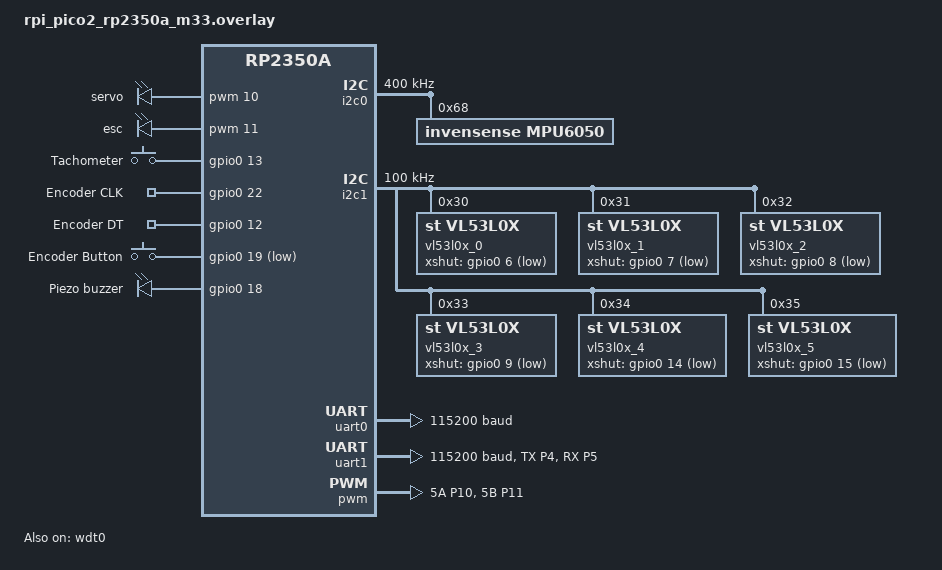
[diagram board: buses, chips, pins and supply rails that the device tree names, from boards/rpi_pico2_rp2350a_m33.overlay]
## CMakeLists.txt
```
cmake_minimum_required(VERSION 3.20.0)

set(RACE_BUILD ON CACHE BOOL "Race/track build: no UART0 console, logs, or bench debug thread")
if(RACE_BUILD)
  list(APPEND EXTRA_CONF_FILE ${CMAKE_CURRENT_SOURCE_DIR}/race.conf)
endif()

set(USB_CONSOLE OFF CACHE BOOL "Use USB CDC-ACM for debug console instead of UART0")
if(USB_CONSOLE)
  list(APPEND EXTRA_CONF_FILE ${CMAKE_CURRENT_SOURCE_DIR}/usb_console.conf)
  list(APPEND EXTRA_DTC_OVERLAY_FILE ${CMAKE_CURRENT_SOURCE_DIR}/boards/usb_console.overlay)
endif()

set(HIL_NO_SENSORS OFF CACHE BOOL "Disable IMU/VL53 nodes for bare-controller HIL")
if(HIL_NO_SENSORS)
  list(APPEND EXTRA_DTC_OVERLAY_FILE ${CMAKE_CURRENT_SOURCE_DIR}/boards/hil_no_sensors.overlay)
endif()

# Register out-of-tree modules
list(APPEND ZEPHYR_EXTRA_MODULES
  ${CMAKE_CURRENT_SOURCE_DIR}/modules/vl53l0x_enhanced
  ${CMAKE_CURRENT_SOURCE_DIR}/modules/u8g2_zephyr
)

find_package(Zephyr REQUIRED HINTS $ENV{ZEPHYR_BASE})

project(umbreon_zephyr)

find_package(Git QUIET)
set(FW_GIT_HASH "unknown")
set(FW_COMMIT_SUBJECT "unknown")
if(Git_FOUND)
  execute_process(
    COMMAND ${GIT_EXECUTABLE} rev-parse --short=7 HEAD
    WORKING_DIRECTORY ${CMAKE_CURRENT_SOURCE_DIR}
    OUTPUT_VARIABLE FW_GIT_HASH
    OUTPUT_STRIP_TRAILING_WHITESPACE
    ERROR_QUIET
  )
  execute_process(
    COMMAND ${GIT_EXECUTABLE} log -1 --pretty=%s
    WORKING_DIRECTORY ${CMAKE_CURRENT_SOURCE_DIR}
    OUTPUT_VARIABLE FW_COMMIT_SUBJECT
    OUTPUT_STRIP_TRAILING_WHITESPACE
    ERROR_QUIET
  )
  execute_process(
    COMMAND ${GIT_EXECUTABLE} diff --quiet
    WORKING_DIRECTORY ${CMAKE_CURRENT_SOURCE_DIR}
    RESULT_VARIABLE FW_GIT_DIRTY
    ERROR_QUIET
  )
  if(FW_GIT_DIRTY)
    string(APPEND FW_GIT_HASH "*")
  endif()
endif()

if(RACE_BUILD)
  set(FW_BUILD_LABEL "RACE")
else()
  set(FW_BUILD_LABEL "BENCH")
endif()

string(REPLACE "\\" "\\\\" FW_COMMIT_SUBJECT "${FW_COMMIT_SUBJECT}")
string(REPLACE "\"" "\\\"" FW_COMMIT_SUBJECT "${FW_COMMIT_SUBJECT}")
configure_file(
  ${CMAKE_CURRENT_SOURCE_DIR}/src/version_git.h.in
  ${CMAKE_CURRENT_BINARY_DIR}/generated/version_git.h
  @ONLY
)

target_include_directories(app PRIVATE
  ${CMAKE_CURRENT_SOURCE_DIR}/src/assets
  ${CMAKE_CURRENT_BINARY_DIR}/generated
)

target_sources(app PRIVATE
    src/main.c
    src/car.c
    src/tachometer.c
    src/sensors.c
    src/imu.c
    src/wifi_cmd.c
    src/control.c
    src/settings.c
    src/battery.c
    src/buzzer.c
    src/tests.c
    src/encoder.c
    src/display.c
    src/display_hal.c
    src/assets/umbreon_logo.c
    src/screens/screen_boot.c
    src/screens/screen_dashboard.c
    src/screens/screen_menu.c
    src/screens/screen_settings.c
    src/screens/screen_edit.c
    src/screens/screen_tests.c
    src/screens/screen_actions.c
    src/screens/screen_confirm.c
    src/screens/screen_info.c
    src/screens/screen_wifi.c
    src/screens/screen_calibrating.c
    src/qrcodegen.c
)
```

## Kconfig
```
source "Kconfig.zephyr"

menu "Umbreon application"

config APP_DISPLAY_DASHBOARD_ONLY
	bool "Dashboard-only display mode"
	default n
	help
	  When enabled, the display shows only the dashboard screen.
	  The main menu, settings, tests and actions are inaccessible.
	  Useful for competition builds where accidental menu entry must
	  be prevented.

config APP_BOOTSCREEN
	bool "Show OLED boot splash"
	default y
	help
	  On startup, show logo and firmware version for a fixed duration
	  before switching to the dashboard.

config APP_BOOTSCREEN_DURATION_MS
	int "Boot splash duration in milliseconds"
	depends on APP_BOOTSCREEN
	default 2500
	range 500 10000

config APP_BUZZER
	bool "Enable piezo buzzer on GP18"
	default y
	help
	  Drive a small passive piezo buzzer connected to GP18 and GND.
	  Sounds are queued and played by a low-priority thread.

menu "Thread configuration"

config APP_CONTROL_STACK_SIZE
	int "Control thread stack size"
	range 512 16384
	default 4096

config APP_CONTROL_PRIORITY
	int "Control thread priority"
	range 0 15
	default 2

config APP_WIFI_CMD_STACK_SIZE
	int "WiFi command thread stack size"
	range 512 16384
	default 2048

config APP_WIFI_CMD_PRIORITY
	int "WiFi command thread priority"
	range 0 15
	default 5

config APP_WIFI_ASYNC_STACK_SIZE
	int "WiFi async worker stack size"
	range 512 16384
	default 3072

config APP_WIFI_ASYNC_PRIORITY
	int "WiFi async worker priority"
	range 0 15
	default 6

config APP_DEBUG_UART_CMD
	bool "UART0 debug command thread (GP16/GP17)"
	default y
	help
	  Poll UART0 for the same $ commands accepted on the WiFi bridge.
	  Intended for bench work with a USB-serial adapter or debug probe.
	  Disable for race/track builds to save RAM, CPU, and UART0 bandwidth.

config APP_DEBUG_UART_STACK_SIZE
	int "Debug UART command thread stack size"
	depends on APP_DEBUG_UART_CMD
	range 512 16384
	default 4096

config APP_DEBUG_UART_PRIORITY
	int "Debug UART command thread priority"
	depends on APP_DEBUG_UART_CMD
	range 0 15
	default 7

config APP_DISPLAY_STACK_SIZE
	int "Display thread stack size"
	range 512 16384
	default 4096

config APP_DISPLAY_PRIORITY
	int "Display thread priority"
	range 0 15
	default 8

config APP_ENCODER_STACK_SIZE
	int "Encoder thread stack size"
	range 512 16384
	default 1024

config APP_ENCODER_PRIORITY
	int "Encoder thread priority"
	range 0 15
	default 5

config APP_BUZZER_STACK_SIZE
	int "Buzzer thread stack size"
	depends on APP_BUZZER
	range 512 4096
	default 1024

config APP_BUZZER_PRIORITY
	int "Buzzer thread priority"
	depends on APP_BUZZER
	range 0 15
	default 12

config APP_BATTERY_STACK_SIZE
	int "Battery thread stack size"
	range 512 16384
	default 1024

config APP_BATTERY_PRIORITY
	int "Battery thread priority"
	range 0 15
	default 10

endmenu

menu "Polling intervals"

config APP_DISPLAY_REFRESH_INTERVAL_MS
	int "Display dashboard refresh interval in milliseconds"
	range 1 60000
	default 120

config APP_DISPLAY_MENU_INTERVAL_MS
	int "Display menu refresh interval in milliseconds"
	range 1 60000
	default 50

config APP_ENCODER_POLL_INTERVAL_MS
	int "Encoder poll interval in milliseconds"
	range 1 60000
	default 1

config APP_BATTERY_SAMPLE_INTERVAL_MS
	int "Battery sample interval in milliseconds"
	range 1 60000
	default 50

config APP_SENSOR_I2C_SCAN_INTERVAL_MS
	int "Sensor I2C health scan interval in milliseconds"
	range 0 60000
	default 0
	help
	  Interval for explicit VL53L0X I2C address scans. 0 disables the scan.
	  Normal RUN sensor polling still detects stale/erroring sensors; this
	  scan is mainly a bench diagnostic and can create I2C NACK log noise if
	  it probes absent addresses.

config APP_SENSOR_I2C_SCAN_DEFAULT_ADDR
	bool "Probe VL53L0X default address during I2C health scan"
	depends on APP_SENSOR_I2C_SCAN_INTERVAL_MS > 0
	default n
	help
	  Probe address 0x29 during the explicit health scan. In normal runtime
	  all six VL53L0X devices are moved to 0x30..0x35, so probing 0x29 will
	  usually NACK and may add avoidable I2C latency/log noise.

config APP_VL53_I2C_BITRATE
	int "VL53L0X I2C1 bus bitrate in Hz"
	range 100000 1000000
	default 400000
	help
	  I2C1 clock frequency for the six VL53L0X range sensors.
	  Use 100000 for conservative wiring and fewer NACK/abort events.
	  Use 400000 for lower RUN-loop latency only when wiring is stable.

config APP_RUN_CSV_TELEMETRY_DIVIDER
	int "RUN CSV telemetry divider"
	range 0 1000
	default 5
	help
	  Send CSV telemetry once every N control-loop ticks while RUN/manual
	  driving is active. 0 disables periodic RUN CSV telemetry.

config APP_CONTROL_INSTANT_TACHOMETER
	bool "Use instant tachometer speed in control loop"
	default y
	help
	  Use the last-pulse interval speed calculation for RUN control,
	  stuck, stall, and maneuver stop checks. This matches the older
	  Arduino-style behavior and avoids the mutex/EMA latency of the
	  filtered tachometer speed path. Disable to use filtered speed in
	  control decisions.

config APP_RUN_PROFILING
	bool "Emit RUN loop timing profiler telemetry"
	default y
	help
	  Emit compact timing telemetry from the autonomous RUN loop. The
	  profiler measures the main work() sections in microseconds and
	  reports averages plus worst total tick time every configured number
	  of RUN ticks.

config APP_RUN_PROFILING_INTERVAL
	int "RUN profiler report interval in ticks"
	depends on APP_RUN_PROFILING
	range 1 1000
	default 25
	help
	  Number of autonomous RUN loop ticks to aggregate before emitting one
	  $T:RUNPROF line. With the default 40 ms loop this reports once per
	  second.

config APP_RUN_PROFILING_CONSOLE
	bool "Mirror RUN profiler telemetry to console"
	depends on APP_RUN_PROFILING
	default y
	help
	  Also print RUN profiler lines to the Zephyr console. This is intended
	  for bench debugging over USB/UART0; keep it disabled for race builds
	  if console output becomes measurable.

config APP_WIFI_DEBUG_UART_MIRROR
	bool "Mirror WiFi protocol TX to UART0 debug console"
	depends on APP_DEBUG_UART_CMD
	default n
	help
	  When enabled, every wifi_cmd_send()/wifi_cmd_printf() payload is also
	  written synchronously to UART0. This is useful for bench debugging but
	  can add milliseconds of latency to each RUN control-loop tick.

endmenu

endmenu
```

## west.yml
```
manifest:
  remotes:
    - name: zephyrproject-rtos
      url-base: https://github.com/zephyrproject-rtos
    - name: olikraus
      url-base: https://github.com/olikraus

  projects:
    - name: zephyr
      remote: zephyrproject-rtos
      revision: v4.4.0
      import: true
    - name: u8g2
      remote: olikraus
      revision: cbceaa1cab22ad63e41c2df684e173cd5433766e
      path: app/modules/u8g2

  self:
    path: app
```

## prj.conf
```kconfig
# ─── Umbreon Zephyr RTOS Configuration ───────────────────────────────────────

# GPIO
CONFIG_GPIO=y

# I2C
CONFIG_I2C=y

# PWM
CONFIG_PWM=y

# ADC
CONFIG_ADC=y

# Sensor subsystem
CONFIG_SENSOR=y

# VL53L0X ToF driver (enhanced, replaces stock)
CONFIG_VL53L0X=n
CONFIG_VL53L0X_ENHANCED=y
CONFIG_VL53L0X_ENHANCED_RECONFIGURE_ADDRESS=y

# MPU-6050 IMU driver
CONFIG_MPU6050=y
CONFIG_MPU6050_TRIGGER_NONE=y

# UART
CONFIG_SERIAL=y
CONFIG_UART_INTERRUPT_DRIVEN=y

# NVS (Non-Volatile Storage)
CONFIG_NVS=y
CONFIG_FLASH=y
CONFIG_FLASH_MAP=y

# Watchdog
CONFIG_WATCHDOG=y

# Reset reason reporting
CONFIG_HWINFO=y

# Console on UART0 (GP16/GP17) — WiFi bridge moved to UART1
CONFIG_CONSOLE=y
CONFIG_UART_CONSOLE=y

# Logging via UART0 console
CONFIG_LOG=y
CONFIG_LOG_DEFAULT_LEVEL=3
CONFIG_LOG_BACKEND_UART=y
CONFIG_PRINTK=y

# UF2 output for easy flashing
CONFIG_BUILD_OUTPUT_UF2=y

# u8g2 graphics library (direct I2C to SSD1306, replaces Zephyr display subsystem)
CONFIG_U8G2=y
# Explicitly disable Zephyr display subsystem — u8g2 owns the SSD1306 directly
CONFIG_DISPLAY=n
CONFIG_CHARACTER_FRAMEBUFFER=n

# Kernel features for display/wifi_cmd
CONFIG_POLL=y
CONFIG_EVENTS=y

# System
CONFIG_HEAP_MEM_POOL_SIZE=8192
CONFIG_MAIN_STACK_SIZE=4096

# Timers
CONFIG_SYS_CLOCK_TICKS_PER_SEC=1000

# picolibc: enable float in printf/scanf (needed for wifi protocol %f formatting)
CONFIG_PICOLIBC_IO_FLOAT=y

# Display: full menu enabled
CONFIG_APP_DISPLAY_DASHBOARD_ONLY=n

# Debug: stack overflow detection
CONFIG_STACK_SENTINEL=y
CONFIG_INIT_STACKS=y
```

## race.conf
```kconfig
# Race / track build — strip UART0 debug overhead (console, logs, bench commands).
# WiFi telemetry on UART1 is unchanged.

CONFIG_CONSOLE=n
CONFIG_UART_CONSOLE=n
CONFIG_LOG=n
CONFIG_PRINTK=n

CONFIG_APP_DEBUG_UART_CMD=n
CONFIG_APP_RUN_PROFILING=n
```

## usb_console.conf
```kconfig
# USB CDC-ACM debug console
CONFIG_USB_DEVICE_STACK=y
CONFIG_USB_DEVICE_PRODUCT="Umbreon Debug"
CONFIG_USB_DEVICE_VID=0x2E8A
CONFIG_USB_DEVICE_PID=0x000A
CONFIG_USB_CDC_ACM=y
CONFIG_USB_CDC_ACM_LOG_LEVEL_OFF=y
```

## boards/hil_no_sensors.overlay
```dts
/* Bare-controller HIL profile: controller only, no external sensors.
 * Keeps UART/PWM/tachometer alive and disables IMU + ToF nodes. */

&mpu6050 {
	status = "disabled";
};

&vl53l0x_0 {
	status = "disabled";
};

&vl53l0x_1 {
	status = "disabled";
};

&vl53l0x_2 {
	status = "disabled";
};

&vl53l0x_3 {
	status = "disabled";
};

&vl53l0x_4 {
	status = "disabled";
};

&vl53l0x_5 {
	status = "disabled";
};
```

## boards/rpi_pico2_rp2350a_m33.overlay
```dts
/*
 * Devicetree overlay for Umbreon roborace car — Raspberry Pi Pico 2 (RP2350A)
 *
 * Pin assignment:
 *   I2C0  GP0/GP1  400kHz — MPU-6050 (0x68) + SSD1306 OLED (0x3C)
 *   I2C1  GP2/GP3  100kHz — 6× VL53L0X (0x30–0x35)
 *   UART0 GP16/GP17 115200 — Debug console
 *   UART1 GP4/GP5   115200 — WiFi bridge (ESP8266)
 *   PWM   GP10 (slice 5A) — Steering servo
 *   PWM   GP11 (slice 5B) — Motor ESC
 *   GPIO  GP13 — Tachometer interrupt (RISING)
 *   GPIO  GP18 — Piezo buzzer
 *   ADC   GP26 (ch0) — Battery voltage
 *   GPIO  GP6,7,8,9,14,15 — VL53L0X XSHUT pins
 */

#include <zephyr/dt-bindings/pwm/pwm.h>
#include <zephyr/dt-bindings/i2c/i2c.h>

/ {
	chosen {
		zephyr,console = &uart0;
		zephyr,shell-uart = &uart0;
		zephyr,flash-controller = &qmi;
	};

	pwmleds {
		compatible = "pwm-leds";
		servo: servo_pwm {
			pwms = <&pwm 10 20000000 PWM_POLARITY_NORMAL>;
		};
		esc: esc_pwm {
			pwms = <&pwm 11 20000000 PWM_POLARITY_NORMAL>;
		};
	};

	tachometer {
		compatible = "gpio-keys";
		tach_pin: tach {
			gpios = <&gpio0 13 GPIO_ACTIVE_HIGH>;
			label = "Tachometer";
		};
	};


	encoder {
		compatible = "gpio-keys";
		enc_a: enc_clk {
			gpios = <&gpio0 22 0>;
			label = "Encoder CLK";
		};
		enc_b: enc_dt {
			gpios = <&gpio0 12 0>;
			label = "Encoder DT";
		};
		enc_sw: enc_btn {
			gpios = <&gpio0 19 GPIO_ACTIVE_LOW>;
			label = "Encoder Button";
		};
	};

	buzzer {
		compatible = "gpio-leds";
		buzzer_pin: buzzer {
			gpios = <&gpio0 18 GPIO_ACTIVE_HIGH>;
			label = "Piezo buzzer";
		};
	};
};

/* ─── Pinctrl overrides ──────────────────────────────────────────────────── */

/* Override I2C0 pins: GP0 (SDA), GP1 (SCL) — for MPU-6050 */
&i2c0_default {
	group1 {
		pinmux = <I2C0_SDA_P0>, <I2C0_SCL_P1>;
		input-enable;
		input-schmitt-enable;
	};
};

/* Override I2C1 pins: GP2 (SDA), GP3 (SCL) — for VL53L0X */
&i2c1_default {
	group1 {
		pinmux = <I2C1_SDA_P2>, <I2C1_SCL_P3>;
		input-enable;
		input-schmitt-enable;
	};
};

/* UART0 pins: GP16 (TX), GP17 (RX) — debug console */
&uart0_default {
	group1 {
		pinmux = <UART0_TX_P16>;
	};
	group2 {
		pinmux = <UART0_RX_P17>;
		input-enable;
	};
};

/* UART1 pins: GP4 (TX), GP5 (RX) — WiFi bridge (ESP8266) */
&pinctrl {
	uart1_default: uart1_default {
		group1 {
			pinmux = <UART1_TX_P4>;
		};
		group2 {
			pinmux = <UART1_RX_P5>;
			input-enable;
		};
	};
};

/* New pinctrl group for PWM slice 5 (servo + ESC) */
&pinctrl {
	pwm_ch5ab_default: pwm_ch5ab_default {
		group1 {
			pinmux = <PWM_5A_P10>, <PWM_5B_P11>;
		};
	};
};

/* ─── I2C0: MPU-6050 (0x68) + SSD1306 OLED (0x3C) ───────────────────────── */
&i2c0 {
	status = "okay";
	clock-frequency = <I2C_BITRATE_FAST>;

	mpu6050: mpu6050@68 {
		compatible = "invensense,mpu6050";
		reg = <0x68>;
		gyro-fs = <500>;
		status = "okay";
	};

	/* SSD1306 node disabled — u8g2 communicates directly via I2C, bypassing
	 * the Zephyr display subsystem. I2C address 0x3C is still used by u8g2
	 * HAL callbacks. Do not re-enable without removing CONFIG_U8G2=y. */
	ssd1306: ssd1306@3c {
		compatible = "solomon,ssd1306";
		reg = <0x3c>;
		width = <128>;
		height = <64>;
		segment-offset = <0>;
		page-offset = <0>;
		display-offset = <0>;
		multiplex-ratio = <63>;
		segment-remap;
		com-invdir;
		prechargep = <0x22>;
		ready-time-ms = <200>;
		status = "disabled";
	};
};

/* ─── I2C1: 6× VL53L0X ToF sensors ──────────────────────────────────────── */
&i2c1 {
	status = "okay";
	clock-frequency = <I2C_BITRATE_STANDARD>;

	vl53l0x_0: vl53l0x@30 {
		compatible = "st,vl53l0x";
		reg = <0x30>;
		xshut-gpios = <&gpio0 6 GPIO_ACTIVE_LOW>;
		status = "okay";
	};
	vl53l0x_1: vl53l0x@31 {
		compatible = "st,vl53l0x";
		reg = <0x31>;
		xshut-gpios = <&gpio0 7 GPIO_ACTIVE_LOW>;
		status = "okay";
	};
	vl53l0x_2: vl53l0x@32 {
		compatible = "st,vl53l0x";
		reg = <0x32>;
		xshut-gpios = <&gpio0 8 GPIO_ACTIVE_LOW>;
		status = "okay";
	};
	vl53l0x_3: vl53l0x@33 {
		compatible = "st,vl53l0x";
		reg = <0x33>;
		xshut-gpios = <&gpio0 9 GPIO_ACTIVE_LOW>;
		status = "okay";
	};
	vl53l0x_4: vl53l0x@34 {
		compatible = "st,vl53l0x";
		reg = <0x34>;
		xshut-gpios = <&gpio0 14 GPIO_ACTIVE_LOW>;
		status = "okay";
	};
	vl53l0x_5: vl53l0x@35 {
		compatible = "st,vl53l0x";
		reg = <0x35>;
		xshut-gpios = <&gpio0 15 GPIO_ACTIVE_LOW>;
		status = "okay";
	};
};

/* ─── UART0: Debug console (GP16 TX, GP17 RX) ────────────────────────────── */
&uart0 {
	status = "okay";
	current-speed = <115200>;
};

/* ─── UART1: WiFi bridge (GP4 TX, GP5 RX) ────────────────────────────────── */
&uart1 {
	status = "okay";
	current-speed = <115200>;
	pinctrl-0 = <&uart1_default>;
	pinctrl-names = "default";
};

/* ─── PWM: Servo (GP10) + ESC (GP11) ─────────────────────────────────────── */
&pwm {
	status = "okay";
	pinctrl-0 = <&pwm_ch5ab_default>;
	pinctrl-names = "default";
};

/* ─── Flash partitions: add NVS storage ──────────────────────────────────── */
&flash0 {
	partitions {
		compatible = "fixed-partitions";
		#address-cells = <1>;
		#size-cells = <1>;

		/* Override code_partition to shrink it, making room for NVS */
		/delete-node/ partition@100;

		code_partition: partition@100 {
			label = "code-partition";
			reg = <0x100 (DT_SIZE_M(4) - 0x100 - 0x10000)>;
			read-only;
		};

		storage_partition: partition@3f0000 {
			label = "storage";
			reg = <0x003F0000 0x00010000>;
		};
	};
};

/* ─── Enable watchdog (disabled in SoC DTS) ──────────────────────────────── */
&wdt0 {
	status = "okay";
};
```

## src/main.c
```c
/*
 * Umbreon Zephyr — Main entry point
 *
 * Initializes all subsystems and starts threads.
 */

#include <zephyr/kernel.h>
#include <zephyr/device.h>
#include <zephyr/drivers/gpio.h>
#include <zephyr/logging/log.h>
#include <zephyr/drivers/hwinfo.h>

#if defined(CONFIG_USB_DEVICE_STACK)
#include <zephyr/usb/usb_device.h>
#include <zephyr/drivers/uart.h>
#endif

#include "settings.h"
#include "car.h"
#include "tachometer.h"
#include "sensors.h"
#include "imu.h"
#include "wifi_cmd.h"
#include "control.h"
#include "battery.h"
#include "buzzer.h"
#include "tests.h"
#include "encoder.h"
#include "display.h"
#include "version.h"

LOG_MODULE_REGISTER(main, LOG_LEVEL_INF);

/* ─── Watchdog ──────────────────────────────────────────────────────────────── */
#include <zephyr/drivers/watchdog.h>

static const struct device *wdt_dev;
static int wdt_channel_id;

static void wdt_init(void)
{
	wdt_dev = DEVICE_DT_GET(DT_NODELABEL(wdt0));
	if (!device_is_ready(wdt_dev)) {
		LOG_WRN("Watchdog not available");
		wdt_dev = NULL;
		return;
	}

	struct wdt_timeout_cfg wdt_cfg = {
		.window.min = 0,
		.window.max = 8000,  /* 8 second timeout */
		.callback = NULL,
		.flags = WDT_FLAG_RESET_SOC,
	};

	wdt_channel_id = wdt_install_timeout(wdt_dev, &wdt_cfg);
	if (wdt_channel_id < 0) {
		LOG_ERR("Watchdog install failed: %d", wdt_channel_id);
		wdt_dev = NULL;
		return;
	}

	int err = wdt_setup(wdt_dev, WDT_OPT_PAUSE_HALTED_BY_DBG);
	if (err) {
		LOG_ERR("Watchdog setup failed: %d", err);
		wdt_dev = NULL;
	}
}

void wdt_feed_kick(void)
{
	if (wdt_dev) {
		wdt_feed(wdt_dev, wdt_channel_id);
	}
}

/* ─── LED blink for startup indication ──────────────────────────────────────── */
static const struct gpio_dt_spec led = GPIO_DT_SPEC_GET(DT_ALIAS(led0), gpios);

static void blink_led(int count, int ms)
{
	if (!gpio_is_ready_dt(&led)) {
		return;
	}
	gpio_pin_configure_dt(&led, GPIO_OUTPUT_ACTIVE);
	for (int i = 0; i < count; i++) {
		gpio_pin_set_dt(&led, 1);
		k_msleep(ms);
		gpio_pin_set_dt(&led, 0);
		k_msleep(ms);
	}
}

/* ─── USB console init (when USB_CONSOLE=ON) ───────────────────────────────── */
#if defined(CONFIG_USB_DEVICE_STACK)
static void usb_console_init(void)
{
	const struct device *dev = DEVICE_DT_GET(DT_CHOSEN(zephyr_console));

	if (!device_is_ready(dev)) {
		return;
	}

	usb_enable(NULL);

	/* Wait up to 3s for host to open serial port (DTR) */
	uint32_t dtr = 0;
	int64_t deadline = k_uptime_get() + 3000;

	while (!dtr && k_uptime_get() < deadline) {
		uart_line_ctrl_get(dev, UART_LINE_CTRL_DTR, &dtr);
		k_msleep(50);
	}
}
#endif

/* ─── Main ──────────────────────────────────────────────────────────────────── */
int main(void)
{
#if defined(CONFIG_USB_DEVICE_STACK)
	usb_console_init();
#endif

	printk("\n");
	printk("==============================\n");
	printk("  Umbreon Zephyr v%s\n", FW_VERSION_FULL);
	printk("==============================\n");

	/* Read reset reason early; report it after WiFi is up */
	uint32_t reset_cause = 0;
	hwinfo_get_reset_cause(&reset_cause);
	hwinfo_clear_reset_cause();

	/* Load saved settings (falls back to compile-time defaults) */
	settings_init();
	settings_load();

	/* Start watchdog early to protect init sequence */
	wdt_init();

	/* Initialize hardware subsystems */
	car_init();
	taho_init();
	sensors_init();      /* ~500 ms I2C probing */
	imu_init();
	wdt_feed_kick();
	imu_calibrate();     /* ~1 sec */
	wdt_feed_kick();
	battery_init();
	buzzer_init();
	wifi_cmd_init();
	encoder_init();
	display_init();

	/* Send boot status via WiFi */
	k_msleep(200); /* Let ESP boot */

	const char *reset_str = "UNK";
	if (reset_cause & RESET_WATCHDOG) reset_str = "WDT";
	else if (reset_cause & RESET_BROWNOUT) reset_str = "BROWNOUT";
	else if (reset_cause & RESET_SOFTWARE) reset_str = "SW";
	else if (reset_cause & RESET_PIN)      reset_str = "PIN";
	else if (reset_cause & RESET_POR)      reset_str = "POR";

	wifi_cmd_printf("$BOOT:SNS=%d,FW=%s,RST=%s,SUBJ=%s\n",
			sensors_online_count(), FW_VERSION_FULL, reset_str,
			FW_COMMIT_SUBJECT);

	/* ESC calibration on first boot */
	wdt_feed_kick();
	if (!cfg.calibrated) {
		car_run_calibration(); /* feeds wdt internally */
	} else {
		/* Allow ESC to arm and sensors to start */
		k_msleep(3700);
	}

	/* Start control thread */
	control_init();

	/* Signal startup complete */
	blink_led(3, 100);
	buzzer_play(BUZZER_BOOT_READY);

	wifi_cmd_printf("$BOOT:READY,UP=%lld\n", k_uptime_get());

	/* Main thread has nothing else to do — sleep forever.
	 * All work happens in dedicated threads. */
	while (1) {
		k_sleep(K_FOREVER);
	}

	return 0;
}
```

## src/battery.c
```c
/*
 * battery.c — Battery voltage monitoring via ADC
 *
 * ADC ch0 (GP26), 12-bit, resistor divider R1=18k / R2=10k (multiplier 2.8)
 * Runs in its own low-priority thread, sampling at CONFIG_APP_BATTERY_SAMPLE_INTERVAL_MS.
 *
 * Port of Car::bat_update() from luna_car.h:417-431
 */

#include "battery.h"
#include "settings.h"

#include <zephyr/kernel.h>
#include <zephyr/device.h>
#include <zephyr/drivers/adc.h>
#include <zephyr/logging/log.h>

LOG_MODULE_REGISTER(battery, LOG_LEVEL_INF);

/* ─── ADC config ──────────────────────────────────────────────────────────── */
static const struct device *adc_dev;

#define ADC_CHANNEL    0
#define ADC_RESOLUTION 12
#define ADC_GAIN       ADC_GAIN_1
#define ADC_REFERENCE  ADC_REF_INTERNAL  /* 3.3V on RP2350 */

static const struct adc_channel_cfg adc_ch_cfg = {
	.gain = ADC_GAIN,
	.reference = ADC_REFERENCE,
	.acquisition_time = ADC_ACQ_TIME_DEFAULT,
	.channel_id = ADC_CHANNEL,
};

#define BAT_EMA 0.05f
/* ─── State ───────────────────────────────────────────────────────────────── */
static volatile float bat_voltage;
static volatile float bat_raw_voltage;
static volatile float bat_min_voltage;

/* ─── Thread config ───────────────────────────────────────────────────────── */
static K_THREAD_STACK_DEFINE(bat_stack, CONFIG_APP_BATTERY_STACK_SIZE);
static struct k_thread bat_thread_data;

/* ─── Battery thread ──────────────────────────────────────────────────────── */

static void battery_thread(void *p1, void *p2, void *p3)
{
	ARG_UNUSED(p1);
	ARG_UNUSED(p2);
	ARG_UNUSED(p3);

	int16_t sample_buf;
	struct adc_sequence seq = {
		.channels = BIT(ADC_CHANNEL),
		.buffer = &sample_buf,
		.buffer_size = sizeof(sample_buf),
		.resolution = ADC_RESOLUTION,
	};

	while (1) {
		k_msleep(CONFIG_APP_BATTERY_SAMPLE_INTERVAL_MS);

		struct car_settings c;
		settings_get_copy(&c);

		if (!c.bat_enabled || !adc_dev) {
			continue;
		}

		int rc = adc_read(adc_dev, &seq);
		if (rc != 0) {
			continue;
		}

		float v_adc = (float)sample_buf * (3.3f / 4095.0f);
		float v_bat = v_adc * c.bat_multiplier;
		bat_raw_voltage = v_bat;
		if (bat_min_voltage < 0.1f || v_bat < bat_min_voltage) {
			bat_min_voltage = v_bat;
		}

		/* EMA filter */
		if (bat_voltage < 0.1f) {
			bat_voltage = v_bat;  /* seed on first reading */
		} else {
			bat_voltage = BAT_EMA * v_bat + (1.0f - BAT_EMA) * bat_voltage;
		}
	}
}

/* ─── Init ────────────────────────────────────────────────────────────────── */

void battery_init(void)
{
	adc_dev = DEVICE_DT_GET(DT_NODELABEL(adc));
	if (!device_is_ready(adc_dev)) {
		LOG_WRN("ADC not ready — battery monitoring disabled");
		adc_dev = NULL;
		return;
	}

	int rc = adc_channel_setup(adc_dev, &adc_ch_cfg);
	if (rc) {
		LOG_ERR("ADC channel setup failed: %d", rc);
		adc_dev = NULL;
		return;
	}

	k_thread_create(&bat_thread_data, bat_stack,
			K_THREAD_STACK_SIZEOF(bat_stack),
			battery_thread, NULL, NULL, NULL,
			CONFIG_APP_BATTERY_PRIORITY, 0, K_NO_WAIT);
	k_thread_name_set(&bat_thread_data, "battery");

	LOG_INF("Battery ADC init (GP26, ch0)");
}

float battery_get_voltage(void)
{
	return bat_voltage;
}

float battery_get_raw_voltage(void)
{
	return bat_raw_voltage;
}

float battery_get_min_voltage(void)
{
	return bat_min_voltage;
}
```

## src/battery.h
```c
#pragma once

/* ─── Battery voltage monitor (ADC on GP26) ──────────────────────────────── */

void battery_init(void);

/* Get filtered battery voltage (V). Updated by the battery thread. */
float battery_get_voltage(void);

/* Latest raw ADC-derived voltage and minimum since boot. */
float battery_get_raw_voltage(void);
float battery_get_min_voltage(void);
```

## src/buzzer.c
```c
/*
 * buzzer.c — passive piezo buzzer on GP18
 */

#include "buzzer.h"

#include <zephyr/kernel.h>
#include <zephyr/device.h>
#include <zephyr/drivers/gpio.h>
#include <zephyr/logging/log.h>
#include <zephyr/sys/util.h>

LOG_MODULE_REGISTER(buzzer, LOG_LEVEL_INF);

#if IS_ENABLED(CONFIG_APP_BUZZER)

static const struct gpio_dt_spec buzzer_gpio =
	GPIO_DT_SPEC_GET(DT_NODELABEL(buzzer_pin), gpios);

struct buzzer_cmd {
	uint16_t freq_hz;
	uint16_t duration_ms;
};

K_MSGQ_DEFINE(buzzer_queue, sizeof(struct buzzer_cmd), 24, 4);
static K_THREAD_STACK_DEFINE(buzzer_stack, CONFIG_APP_BUZZER_STACK_SIZE);
static struct k_thread buzzer_thread_data;
static bool buzzer_ready;

static void buzzer_set(bool on)
{
	if (buzzer_ready) {
		gpio_pin_set_dt(&buzzer_gpio, on ? 1 : 0);
	}
}

static void tone_blocking(uint16_t freq_hz, uint16_t duration_ms)
{
	if (!buzzer_ready || duration_ms == 0U) {
		return;
	}

	if (freq_hz == 0U) {
		buzzer_set(false);
		k_msleep(duration_ms);
		return;
	}

	uint32_t half_period_us = 1000000U / ((uint32_t)freq_hz * 2U);
	if (half_period_us < 50U) {
		half_period_us = 50U;
	}

	int64_t end_ms = k_uptime_get() + duration_ms;
	while (k_uptime_get() < end_ms) {
		buzzer_set(true);
		k_busy_wait(half_period_us);
		buzzer_set(false);
		k_busy_wait(half_period_us);
	}
	buzzer_set(false);
}

static void buzzer_thread(void *p1, void *p2, void *p3)
{
	ARG_UNUSED(p1);
	ARG_UNUSED(p2);
	ARG_UNUSED(p3);

	struct buzzer_cmd cmd;
	while (1) {
		k_msgq_get(&buzzer_queue, &cmd, K_FOREVER);
		tone_blocking(cmd.freq_hz, cmd.duration_ms);
	}
}

void buzzer_init(void)
{
	buzzer_ready = false;

	if (!gpio_is_ready_dt(&buzzer_gpio)) {
		LOG_WRN("Buzzer GPIO not ready");
		return;
	}

	int rc = gpio_pin_configure_dt(&buzzer_gpio, GPIO_OUTPUT_INACTIVE);
	if (rc != 0) {
		LOG_WRN("Buzzer GPIO configure failed: %d", rc);
		return;
	}

	buzzer_ready = true;
	k_thread_create(&buzzer_thread_data, buzzer_stack,
			K_THREAD_STACK_SIZEOF(buzzer_stack),
			buzzer_thread, NULL, NULL, NULL,
			CONFIG_APP_BUZZER_PRIORITY, 0, K_NO_WAIT);
	k_thread_name_set(&buzzer_thread_data, "buzzer");
	LOG_INF("Buzzer init OK (GP18)");
}

void buzzer_beep(unsigned int freq_hz, unsigned int duration_ms)
{
	if (!buzzer_ready) {
		return;
	}

	struct buzzer_cmd cmd = {
		.freq_hz = (uint16_t)MIN(freq_hz, UINT16_MAX),
		.duration_ms = (uint16_t)MIN(duration_ms, UINT16_MAX),
	};
	(void)k_msgq_put(&buzzer_queue, &cmd, K_NO_WAIT);
}

static void note(unsigned int freq_hz, unsigned int duration_ms)
{
	buzzer_beep(freq_hz, duration_ms);
	buzzer_beep(0, 25);
}

void buzzer_play(enum buzzer_event event)
{
	switch (event) {
	case BUZZER_BOOT_READY:
		note(1047, 55); /* C6 */
		note(1319, 55); /* E6 */
		note(1568, 75); /* G6 */
		break;
	case BUZZER_RUN_START:
		note(784, 55);  /* G5 */
		note(1047, 70); /* C6 */
		break;
	case BUZZER_STOP:
		note(1319, 45); /* E6 */
		note(1047, 75); /* C6 */
		break;
	case BUZZER_CAL_DONE:
		note(1047, 45); /* C6 */
		note(1319, 45); /* E6 */
		note(1568, 45); /* G6 */
		note(2093, 90); /* C7 */
		break;
	case BUZZER_ERROR:
		for (int i = 0; i < 2; i++) {
			note(392, 130); /* G4 */
			buzzer_beep(0, 90);
		}
		break;
	default:
		break;
	}
}

#else

void buzzer_init(void) { }
void buzzer_beep(unsigned int freq_hz, unsigned int duration_ms)
{
	ARG_UNUSED(freq_hz);
	ARG_UNUSED(duration_ms);
}
void buzzer_play(enum buzzer_event event)
{
	ARG_UNUSED(event);
}

#endif
```

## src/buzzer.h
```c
#pragma once

enum buzzer_event {
	BUZZER_BOOT_READY,
	BUZZER_RUN_START,
	BUZZER_STOP,
	BUZZER_CAL_DONE,
	BUZZER_ERROR,
};

void buzzer_init(void);
void buzzer_beep(unsigned int freq_hz, unsigned int duration_ms);
void buzzer_play(enum buzzer_event event);
```

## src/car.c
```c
/*
 * car.c — PWM servo/ESC control + PID speed controller
 *
 * Ported from luna_car.h: write_steer(), write_speed(), pid_control_motor()
 */

#include "car.h"
#include "settings.h"
#include "tachometer.h"
#include "buzzer.h"

#include <zephyr/kernel.h>
#include <zephyr/device.h>
#include <zephyr/drivers/pwm.h>
#include <zephyr/sys/util.h>
#include <zephyr/logging/log.h>
#include <math.h>
#ifndef M_PI
#define M_PI 3.14159265358979323846
#endif

LOG_MODULE_REGISTER(car, LOG_LEVEL_INF);

/* ─── PWM devices ─────────────────────────────────────────────────────────── */
static const struct pwm_dt_spec servo_pwm = PWM_DT_SPEC_GET(DT_NODELABEL(servo));
static const struct pwm_dt_spec esc_pwm   = PWM_DT_SPEC_GET(DT_NODELABEL(esc));
static volatile int esc_last_us = NEUTRAL_SPEED;
static volatile int steer_last_cmd;

/* ─── PID state ───────────────────────────────────────────────────────────── */
static float target_speed;
static float pid_ref_applied; /* setpoint after spd_slew limiting */
static float pid_integral;
static float pid_prev_filtered;  /* for derivative-on-measurement */
static float pid_filtered;
static uint32_t pid_prev_cnt;
static int64_t pid_prev_ms;
/* Start boost: edge on forward command from rest */
static int64_t kick_until_ms;
static float kick_prev_pid_ref;

/* ─── Helpers ─────────────────────────────────────────────────────────────── */

/* Convert microseconds to PWM pulse width (in nanoseconds for Zephyr API) */
static inline void servo_set_us(int us)
{
	pwm_set_pulse_dt(&servo_pwm, PWM_USEC(us));
}

static inline void esc_set_us(int us)
{
	esc_last_us = us;
	pwm_set_pulse_dt(&esc_pwm, PWM_USEC(us));
}

/* Map a value from one range to another (Arduino map() equivalent) */
static inline int map_val(int x, int in_min, int in_max, int out_min, int out_max)
{
	return (x - in_min) * (out_max - out_min) / (in_max - in_min) + out_min;
}

/* ─── Init ────────────────────────────────────────────────────────────────── */

void car_init(void)
{
	if (!pwm_is_ready_dt(&servo_pwm)) {
		LOG_ERR("Servo PWM not ready");
	}
	if (!pwm_is_ready_dt(&esc_pwm)) {
		LOG_ERR("ESC PWM not ready");
	}

	/* Neutral position */
	car_write_steer(0);
	car_write_speed(0);

	LOG_INF("Car PWM init done (servo GP10, ESC GP11)");
}

/* ─── Steering ────────────────────────────────────────────────────────────── */
/* Port of Car::write_steer() from luna_car.h:408-415 */

void car_write_steer(int s)
{
	struct car_settings c;
	settings_get_copy(&c);

	if (c.servo_reverse) {
		s = -s;
	}
	s = CLAMP(s, -1000, 1000);
	steer_last_cmd = s;

	int angle;
	if (s < 0) {
		angle = map_val(s, -1000, 0, c.min_point, c.neutral_point);
	} else {
		angle = map_val(s, 0, 1000, c.neutral_point, c.max_point);
	}

	/* Convert angle (0–180°) to pulse width (700–2300 µs) */
	int pulse_us = 700 + angle * 1600 / 180;
	servo_set_us(pulse_us);
}

void car_write_servo_raw(int angle)
{
	angle = CLAMP(angle, 0, 180);
	int pulse_us = 700 + angle * 1600 / 180;
	servo_set_us(pulse_us);
}

/* ─── ESC ─────────────────────────────────────────────────────────────────── */

void car_write_esc_us(int us)
{
	us = CLAMP(us, 1000, 2000);
	esc_set_us(us);
}

/* Port of Car::write_speed() from luna_car.h:396-405 */
void car_write_speed(int s)
{
	struct car_settings c;
	settings_get_copy(&c);

	/* Reset PID state — direct control bypasses PID */
	car_pid_reset();

	s = CLAMP(s, -1000, 1000);
	int us;
	if (s > 0) {
		us = map_val(s, 1, 1000, c.min_speed, c.max_speed);
	} else if (s < 0) {
		us = map_val(s, -1000, -1, 1000, c.min_bspeed);
	} else {
		us = NEUTRAL_SPEED;
	}
	esc_set_us(us);
}

void car_write_speed_ms(float target)
{
	target_speed = target;
}

int car_get_esc_us(void)
{
	return esc_last_us;
}

/* ─── PID ─────────────────────────────────────────────────────────────────── */
/* Port of Car::pid_control_motor() from luna_car.h:350-390 */

void car_pid_reset(void)
{
	pid_integral = 0;
	pid_prev_filtered = 0;
	pid_filtered = 0;
	pid_prev_cnt = taho_get_count();
	pid_prev_ms = 0;
	target_speed = 0;
	pid_ref_applied = 0;
	kick_until_ms = 0;
	kick_prev_pid_ref = 0;
}

void car_pid_control(void)
{
	struct car_settings c;
	settings_get_copy(&c);

	int64_t now_ms = k_uptime_get();
	if (pid_prev_ms == 0) {
		pid_prev_ms = now_ms;
		return;
	}

	float dt = (now_ms - pid_prev_ms) / 1000.0f;
	if (dt < 0.01f) {
		return;
	}
	pid_prev_ms = now_ms;

	/* Count-based speed measurement */
	uint32_t cnt = taho_get_count();
	uint32_t delta_cnt = cnt - pid_prev_cnt;
	pid_prev_cnt = cnt;

	float raw_speed = 0.0f;
	if (c.encoder_holes > 0) {
		raw_speed = (delta_cnt / (float)c.encoder_holes) *
			    ((float)M_PI * c.wheel_diam_m) / dt;
	}

	/* EMA filter (0.7 = responsive, 0.3 = smooth) */
	pid_filtered = 0.7f * raw_speed + 0.3f * pid_filtered;
	if (taho_time_since_last_us() > 500000) {
		pid_filtered = 0;
	}

	/* Slew-limit setpoint (m/s²) — smooth start / mode transitions */
	if (c.spd_slew > 0.001f) {
		float step = c.spd_slew * dt;
		if (target_speed > pid_ref_applied + step) {
			pid_ref_applied += step;
		} else if (target_speed < pid_ref_applied - step) {
			pid_ref_applied -= step;
		} else {
			pid_ref_applied = target_speed;
		}
	} else {
		pid_ref_applied = target_speed;
	}

	/* Kick-off pulse: % of forward ESC span for kick_ms after forward edge from rest */
	bool want_fwd = pid_ref_applied > 0.02f;
	bool had_fwd = kick_prev_pid_ref > 0.02f;
	if (!want_fwd) {
		kick_until_ms = 0;
	} else if (!had_fwd && pid_filtered < 0.10f && c.kick_pct > 0.05f &&
		   c.kick_ms > 0) {
		kick_until_ms = now_ms + c.kick_ms;
	}
	if (want_fwd && pid_ref_applied > 0.05f &&
	    pid_filtered >= pid_ref_applied * 0.78f) {
		kick_until_ms = 0;
	}
	kick_prev_pid_ref = pid_ref_applied;

	/* PID — derivative on measurement (no kick on target change) */
	float error = pid_ref_applied - pid_filtered;
	pid_integral += error * dt;
	pid_integral = CLAMP(pid_integral, -50.0f, 50.0f);
	float deriv = -(pid_filtered - pid_prev_filtered) / dt;
	pid_prev_filtered = pid_filtered;

	/* Feedforward: jump past motor dead zone (follows slewed setpoint) */
	float ff = (pid_ref_applied > 0.01f) ? (float)(c.min_speed - NEUTRAL_SPEED) : 0;
	float output = ff + c.pid_kp * error + c.pid_ki * pid_integral + c.pid_kd * deriv;

	float kick_us = 0.0f;
	int corner_kick_us = 0;
	if (c.kick_pct > 0.05f && want_fwd && now_ms < kick_until_ms) {
		int span = c.max_speed - NEUTRAL_SPEED;
		if (span < 1) {
			span = 1;
		}
		kick_us = (c.kick_pct / 100.0f) * (float)span;
		if (kick_us > 60.0f) {
			kick_us = 60.0f;
		}
	}
	if (want_fwd && pid_filtered < 0.12f) {
		int steer_abs = steer_last_cmd < 0 ? -steer_last_cmd : steer_last_cmd;
		corner_kick_us = (steer_abs * c.corner_kick_us) / 1000;
	}

	int esc_val = NEUTRAL_SPEED + (int)(output + kick_us) + corner_kick_us;
	if (want_fwd && pid_filtered < 0.12f) {
		int launch_floor = c.min_speed + (int)kick_us + corner_kick_us;
		esc_val = MAX(esc_val, launch_floor);
	}
	esc_val = CLAMP(esc_val, NEUTRAL_SPEED, c.max_speed);
	esc_set_us(esc_val);
}

/* ─── ESC Calibration ─────────────────────────────────────────────────────── */
/* Port of run_calibration() from Umbreon_roborace.ino:1030-1057 */

void car_run_calibration(void)
{
	extern void wdt_feed_kick(void);
	extern void wifi_cmd_send(const char *str);

	LOG_INF("ESC calibration: max signal");
	wifi_cmd_send("$T:CAL,phase=esc_max\n");
	esc_set_us(2000);
	k_msleep(3000);
	wdt_feed_kick();

	LOG_INF("ESC calibration: min signal");
	wifi_cmd_send("$T:CAL,phase=esc_min\n");
	esc_set_us(1000);
	k_msleep(3000);
	wdt_feed_kick();

	LOG_INF("ESC calibration: neutral");
	wifi_cmd_send("$T:CAL,phase=esc_neutral\n");
	esc_set_us(NEUTRAL_SPEED);
	k_msleep(1000);
	wdt_feed_kick();

	settings_lock();
	cfg.calibrated = true;
	settings_unlock();
	settings_save();

	wifi_cmd_send("$T:CAL,phase=done\n");
	wifi_cmd_send("$TDONE:cal\n");
	buzzer_play(BUZZER_CAL_DONE);
	LOG_INF("ESC calibration complete");
}
```

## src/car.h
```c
#pragma once

#include <stdbool.h>

/* ─── Car control: PWM servo + ESC ────────────────────────────────────────── */

void car_init(void);

/* Steering: -1000 (left) … +1000 (right) */
void car_write_steer(int s);

/* Direct servo angle write (0–180°) for calibration */
void car_write_servo_raw(int angle);

/* Direct ESC µs write (1000–2000) for calibration */
void car_write_esc_us(int us);

/* Raw speed: -1000 … +1000, bypasses PID */
void car_write_speed(int s);

/* Set target speed for PID (m/s) */
void car_write_speed_ms(float target);

/* Run PID control tick — call from control loop */
void car_pid_control(void);

/* Last ESC pulse command in microseconds. */
int car_get_esc_us(void);

/* PID state reset */
void car_pid_reset(void);

/* ESC calibration: max → min → neutral */
void car_run_calibration(void);
```

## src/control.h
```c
#pragma once

#include <stdbool.h>

/* ─── Main control loop ──────────────────────────────────────────────────── */

void control_init(void);

/* State queries */
bool control_is_running(void);
bool control_is_monitor(void);
bool control_is_countdown(void);

/* Start/stop state machine hooks for command layer */
bool control_request_start(void);
void control_cancel_start_request(void);

/* Commands from wifi_cmd thread */
void control_cmd_start(void);
void control_cmd_stop(void);
void control_cmd_monitor(void);

/* Manual drive ($DRV command) */
void control_set_manual(int steer, float speed);
void control_set_drv_enabled(bool enabled);
```

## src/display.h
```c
#pragma once

#include <stdbool.h>
#include <zephyr/kernel.h>

/* Initialize display hardware and create display thread.
 * Display starts OFF (blanked). */
void display_init(void);

/* Notify display that car run state changed. Thread-safe. */
void display_notify_run_state(bool running);

/* Notify display that a test started/ended. Thread-safe. */
void display_notify_test_state(bool active);

/* I2C0 mutex — must be held during I2C0 bus transactions.
 * Defined in display.c, used by imu.c */
extern struct k_mutex i2c0_mutex;

/* Menu command queue — checked by wifi_cmd thread */
extern struct k_msgq menu_cmd_q;

/* Menu command IDs */
enum menu_cmd {
	MCMD_START = 1,
	MCMD_STOP,
	MCMD_SAVE,
	MCMD_LOAD,
	MCMD_RESET,
	MCMD_SNS_RECOVER,
	MCMD_TEST_BASE = 0x10, /* + test index 0-7 */
};
```

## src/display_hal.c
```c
/*
 * display_hal.c — u8g2 HAL callbacks for Zephyr I2C + delay
 *
 * u8x8_byte_zephyr_hw_i2c():
 *   Accumulates bytes sent by u8g2 into i2c_buf[], then dispatches a
 *   single i2c_write() at END_TRANSFER. Holds i2c0_mutex from
 *   START_TRANSFER to END_TRANSFER to share I2C0 safely with the IMU.
 *
 * u8x8_gpio_and_delay_zephyr():
 *   Maps u8g2 delay requests to k_msleep()/k_busy_wait(). GPIO_RESET
 *   is a no-op because the RST pin is not wired on this board.
 *
 * Buffer size rationale:
 *   SSD1306 full-buffer write = 1 control byte (0x40) + 1024 data bytes.
 *   u8g2 may prepend additional command bytes, so 1026 covers all cases.
 *   Static allocation avoids heap fragmentation.
 */

#include "display_hal.h"
#include "display.h"        /* extern struct k_mutex i2c0_mutex */

#include <zephyr/kernel.h>
#include <zephyr/device.h>
#include <zephyr/drivers/i2c.h>
#include <zephyr/logging/log.h>
#include <string.h>

LOG_MODULE_REGISTER(display_hal, LOG_LEVEL_INF);

/* ─── u8g2 instance ──────────────────────────────────────────────────────── */
u8g2_t u8g2;

/* ─── I2C device ─────────────────────────────────────────────────────────── */
static const struct device *i2c_dev;

/* ─── I2C byte accumulation buffer ──────────────────────────────────────── */
#define I2C_BUF_SIZE 1026
static uint8_t  i2c_buf[I2C_BUF_SIZE];
static int      i2c_buf_len;
static bool     transfer_active;
static bool     display_present;
static uint32_t display_i2c_errors;

#define DISPLAY_I2C_ADDR       0x3c
#define DISPLAY_MAX_I2C_ERRORS 3

static int display_probe(void)
{
	uint8_t control = 0x00;
	return i2c_write(i2c_dev, &control, sizeof(control), DISPLAY_I2C_ADDR);
}

/* ─── u8x8_byte_zephyr_hw_i2c ───────────────────────────────────────────── */

uint8_t u8x8_byte_zephyr_hw_i2c(u8x8_t *u8x8, uint8_t msg,
                                  uint8_t arg_int, void *arg_ptr)
{
	switch (msg) {

	case U8X8_MSG_BYTE_INIT:
		transfer_active = false;
		i2c_buf_len = 0;
		break;

	case U8X8_MSG_BYTE_SET_DC:
		/* I2C has no D/C line — no-op */
		break;

	case U8X8_MSG_BYTE_START_TRANSFER:
		/*
		 * Acquire I2C bus mutex before any bus activity.
		 * IMU (priority 2) holds this mutex for ~2 ms per sample_fetch.
		 * Display thread (priority 8) accepts up to 50 ms of contention.
		 * On timeout, skip this frame rather than crash.
		 */
		if (k_mutex_lock(&i2c0_mutex, K_MSEC(50)) != 0) {
			LOG_WRN("i2c0_mutex timeout — display frame dropped");
			transfer_active = false;
			return 0;
		}
		i2c_buf_len = 0;
		transfer_active = true;
		break;

	case U8X8_MSG_BYTE_SEND: {
		if (!transfer_active) {
			return 0;
		}
		const uint8_t *data = (const uint8_t *)arg_ptr;
		int remaining = I2C_BUF_SIZE - i2c_buf_len;

		if (arg_int > remaining) {
			LOG_ERR("I2C buffer overflow: need %d have %d — truncating",
				arg_int, remaining);
			arg_int = (uint8_t)remaining;
		}
		memcpy(i2c_buf + i2c_buf_len, data, arg_int);
		i2c_buf_len += arg_int;
		break;
	}

	case U8X8_MSG_BYTE_END_TRANSFER: {
		if (!transfer_active) {
			return 0;
		}
		if (i2c_buf_len > 0) {
			if (!display_present) {
				i2c_buf_len = 0;
				transfer_active = false;
				k_mutex_unlock(&i2c0_mutex);
				return 0;
			}
			/*
			 * u8x8 stores the 8-bit write address (7-bit addr << 1).
			 * SSD1306 default: u8x8->i2c_address = 0x78 → 7-bit = 0x3C.
			 * Zephyr i2c_write() takes the 7-bit address directly.
			 */
			uint8_t addr = u8x8_GetI2CAddress(u8x8) >> 1;
			int rc = i2c_write(i2c_dev, i2c_buf,
					   (uint32_t)i2c_buf_len, addr);
			if (rc != 0) {
				display_i2c_errors++;
				LOG_ERR("i2c_write addr=0x%02x len=%d rc=%d",
					addr, i2c_buf_len, rc);
				if (display_i2c_errors >= DISPLAY_MAX_I2C_ERRORS) {
					display_present = false;
					LOG_ERR("SSD1306 disabled after %u I2C errors",
						display_i2c_errors);
				}
			}
			i2c_buf_len = 0;
		}
		transfer_active = false;
		k_mutex_unlock(&i2c0_mutex);
		break;
	}

	default:
		return 0;
	}
	return 1;
}

/* ─── u8x8_gpio_and_delay_zephyr ────────────────────────────────────────── */

uint8_t u8x8_gpio_and_delay_zephyr(u8x8_t *u8x8, uint8_t msg,
                                    uint8_t arg_int, void *arg_ptr)
{
	ARG_UNUSED(u8x8);
	ARG_UNUSED(arg_ptr);

	switch (msg) {

	case U8X8_MSG_GPIO_AND_DELAY_INIT:
		/* I2C pins are configured by DT overlay (SDA=GP0, SCL=GP1). */
		break;

	case U8X8_MSG_DELAY_MILLI:
		k_msleep(arg_int);
		break;

	case U8X8_MSG_DELAY_I2C:
		/*
		 * One I2C unit at 400 kHz ≈ 1.25 µs.
		 * Use 2 µs (conservative) to satisfy SSD1306 timing constraints.
		 */
		k_busy_wait(2U);
		break;

	case U8X8_MSG_GPIO_RESET:
		/* RST pin not wired on this board — SSD1306 init uses software reset */
		break;

	default:
		return 0;
	}
	return 1;
}

/* ─── display_hal_init ───────────────────────────────────────────────────── */

int display_hal_init(void)
{
	i2c_dev = DEVICE_DT_GET(DT_NODELABEL(i2c0));
	if (!device_is_ready(i2c_dev)) {
		LOG_ERR("I2C0 not ready — check GP0/GP1 wiring and DT overlay");
		return -ENODEV;
	}

	display_i2c_errors = 0;
	display_present = false;
	int rc = display_probe();
	if (rc != 0) {
		display_i2c_errors++;
		LOG_ERR("SSD1306 not detected at I2C0 addr=0x%02x rc=%d",
			DISPLAY_I2C_ADDR, rc);
		return -ENODEV;
	}
	display_present = true;

	/*
	 * Full-buffer mode (_f suffix): u8g2 allocates a 1024-byte framebuffer
	 * inside u8g2_t. All drawing goes to RAM first; u8g2_SendBuffer() does
	 * one I2C transfer per frame (~10 ms at 400 kHz).
	 */
	u8g2_Setup_ssd1306_i2c_128x64_noname_f(
		&u8g2,
		U8G2_R0,
		u8x8_byte_zephyr_hw_i2c,
		u8x8_gpio_and_delay_zephyr
	);

	/* Runs the SSD1306 initialisation command sequence via I2C. */
	u8g2_InitDisplay(&u8g2);

	/* Start with display off — display.c powers it on at wake. */
	u8g2_SetPowerSave(&u8g2, 1);

	LOG_INF("u8g2 HAL init OK (SSD1306 128x64, I2C0 addr=0x3C)");
	return 0;
}

bool display_hal_is_present(void)
{
	return display_present;
}

uint32_t display_hal_error_count(void)
{
	return display_i2c_errors;
}
```

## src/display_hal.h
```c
#pragma once

#include <stdbool.h>
#include <stdint.h>

#include <zephyr/kernel.h>
#include <u8g2.h>

/* Global u8g2 instance. Initialized by display_hal_init(). */
extern u8g2_t u8g2;

/* Initialize u8g2 with Zephyr I2C HAL and run SSD1306 init sequence.
 * Must be called from the display thread after the I2C bus is ready.
 * Returns 0 on success, negative errno on failure. */
int display_hal_init(void);

bool display_hal_is_present(void);
uint32_t display_hal_error_count(void);

/* HAL callbacks — exposed for unit testing only. */
uint8_t u8x8_byte_zephyr_hw_i2c(u8x8_t *u8x8, uint8_t msg,
                                  uint8_t arg_int, void *arg_ptr);
uint8_t u8x8_gpio_and_delay_zephyr(u8x8_t *u8x8, uint8_t msg,
                                    uint8_t arg_int, void *arg_ptr);
```
